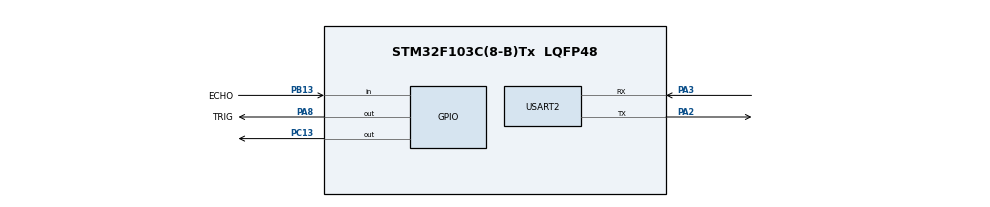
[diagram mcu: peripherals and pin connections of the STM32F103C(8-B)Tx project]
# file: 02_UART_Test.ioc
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FREERTOS.Tasks01=SensorTask,0,128,StartSensorTask,Default,NULL,Dynamic,NULL,NULL
FREERTOS.configTOTAL_HEAP_SIZE=4096
FREERTOS.configUSE_NEWLIB_REENTRANT=0
Mcu.Family=STM32F1
Mcu.Name=STM32F103C(8-B)Tx
Mcu.Package=LQFP48
NVIC.PriorityGroup=NVIC_PRIORITYGROUP_4
NVIC.TIM2_IRQn=true\:0\:0\:true\:false\:true\:false\:false\:true\:true
NVIC.TimeBase=TIM2_IRQn
NVIC.TimeBaseIP=TIM2
PA13.Mode=Serial_Wire
PA13.Signal=SYS_JTMS-SWDIO
PA14.Mode=Serial_Wire
PA14.Signal=SYS_JTCK-SWCLK
PA2.Mode=Asynchronous
PA2.Signal=USART2_TX
PA3.Mode=Asynchronous
PA3.Signal=USART2_RX
PA8.GPIO_Label=TRIG
PA8.Signal=GPIO_Output
PB13.GPIO_Label=ECHO
PB13.Signal=GPIO_Input
PC13-TAMPER-RTC.Signal=GPIO_Output
ProjectManager.HeapSize=0x200
ProjectManager.StackSize=0x400
ProjectManager.TargetToolchain=STM32CubeIDE
RCC.APB1Freq_Value=8000000
RCC.APB2Freq_Value=8000000
TIM1.Prescaler=7
USART2.VirtualMode=VM_ASYNC
VP_FREERTOS_VS_CMSIS_V1.Mode=CMSIS_V1
VP_SYS_VS_tim2.Mode=TIM2
VP_TIM1_VS_ClockSourceINT.Mode=Internal
board=custom

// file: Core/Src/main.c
/* USER CODE BEGIN Header */
/**
  ******************************************************************************
  * @file           : main.c
  * @brief          : Main program body (ROBUST VERSION)
  ******************************************************************************
  */
/* USER CODE END Header */
#include "main.h"
#include "cmsis_os.h"

/* USER CODE BEGIN Includes */
#include "stdio.h"
#include "string.h"
#include "FreeRTOS.h"
#include "task.h"

/* Extern declarations for FreeRTOS port functions */
extern void xPortSysTickHandler(void);
extern void xPortPendSVHandler(void);
extern void vPortSVCHandler(void);
/* USER CODE END Includes */

TIM_HandleTypeDef htim1;

UART_HandleTypeDef huart2;

osThreadId SensorTaskHandle;
/* USER CODE BEGIN PV */

// Operation Mode: 'F' = FreeRTOS, 'B' = Bare Metal
volatile char currentMode = 'F';

// UART Receive
volatile uint8_t rxByte = 0;
volatile uint8_t rxComplete = 0;

// Timestamp (ms)
volatile uint32_t systemTimestamp = 0;

/* USER CODE END PV */

void SystemClock_Config(void);
static void MX_GPIO_Init(void);
static void MX_USART2_UART_Init(void);
static void MX_TIM1_Init(void);
void StartSensorTask(void const * argument);

/* USER CODE BEGIN PFP */
void delay_us(uint16_t us);
uint32_t HCSR04_Read(void);
void vProducerTask(void *pvParameters);   // Priority 3 - sensor read + validation
void vConsumerTask(void *pvParameters);   // Priority 1 - data display
void vAlertTask(void *pvParameters);      // Priority 3 - critical alert handler
void RunBareMetalMode(void);
void ProcessUARTCommand(uint8_t cmd);
void SendSensorData(uint32_t distance, uint32_t latency);

// Double buffer for Producer-Consumer (lock-free)
typedef struct {
    uint32_t distance;
    uint32_t timestamp;
    uint8_t ready;
} SensorBuffer;

volatile SensorBuffer sharedBuffer = {0, 0, 0};

// Critical threshold detection (immediate trigger, no spike protection)
volatile uint32_t criticalThreshold = 10;   // Default 10cm, user configurable
volatile uint8_t alertActive = 0;           // Alert state
volatile uint32_t alertStartTime = 0;       // When alert started
volatile uint32_t alertSampleCount = 0;     // Total samples during alert
volatile uint8_t alertAcknowledged = 0;     // User acknowledged

// Semaphore for Alert Task
SemaphoreHandle_t xAlertSemaphore = NULL;
/* USER CODE END PFP */

/* USER CODE BEGIN 0 */

// Microsecond delay (using TIM1)
void delay_us(uint16_t us)
{
    __HAL_TIM_SET_COUNTER(&htim1, 0);
    while (__HAL_TIM_GET_COUNTER(&htim1) < us);
}

// Ultrasonic Sensor Read - Simple and reliable
uint32_t HCSR04_Read(void)
{
    uint32_t time = 0;
    uint32_t timeout = 1000000;

    // Trigger pulse
    HAL_GPIO_WritePin(GPIOA, GPIO_PIN_8, GPIO_PIN_RESET);
    delay_us(2);
    HAL_GPIO_WritePin(GPIOA, GPIO_PIN_8, GPIO_PIN_SET);
    delay_us(10);
    HAL_GPIO_WritePin(GPIOA, GPIO_PIN_8, GPIO_PIN_RESET);

    // Wait for Echo HIGH
    while (HAL_GPIO_ReadPin(GPIOB, GPIO_PIN_13) == GPIO_PIN_RESET) {
        if (timeout-- == 0) return 0;
    }

    // Start measurement
    __HAL_TIM_SET_COUNTER(&htim1, 0);

    // Wait for Echo LOW
    timeout = 1000000;
    while (HAL_GPIO_ReadPin(GPIOB, GPIO_PIN_13) == GPIO_PIN_SET) {
        if (timeout-- == 0) return 0;
    }

    time = __HAL_TIM_GET_COUNTER(&htim1);
    return time / 58; // Convert to cm
}

// Format and send sensor data
void SendSensorData(uint32_t distance, uint32_t latency)
{
    char buffer[80];
    // Format: MODE:X,TIME:XXXXXX,DIST:XXX,LAT:XXX\n
    sprintf(buffer, "MODE:%c,TIME:%lu,DIST:%lu,LAT:%lu\r\n",
            currentMode, systemTimestamp, distance, latency);
    HAL_UART_Transmit(&huart2, (uint8_t*)buffer, strlen(buffer), 100);
}

// Read mode from Backup Register
char ReadModeFromBackup(void) {
    // Enable clocks (required for reading)
    __HAL_RCC_PWR_CLK_ENABLE();
    __HAL_RCC_BKP_CLK_ENABLE();
    HAL_PWR_EnableBkUpAccess();

    // Read register directly
    uint16_t val = BKP->DR1;
    if ((val & 0xFF) == 'B') return 'B';
    return 'F'; // Default
}

// Write mode to Backup Register
void WriteModeToBackup(char mode) {
    // Enable clocks and disable write protection
    __HAL_RCC_PWR_CLK_ENABLE();
    __HAL_RCC_BKP_CLK_ENABLE();
    HAL_PWR_EnableBkUpAccess();

    // Write register directly
    BKP->DR1 = (uint16_t)mode;

    // Ensure write completion
    __DSB(); // Data Synchronization Barrier
}

// Process UART Command
void ProcessUARTCommand(uint8_t cmd)
{
    char response[50];

    switch(cmd) {
        case 'F':
        case 'f':
            WriteModeToBackup('F');
            sprintf(response, "ACK:MODE_FREERTOS\r\n");
            HAL_UART_Transmit(&huart2, (uint8_t*)response, strlen(response), 100);
            HAL_Delay(50); // Wait for UART/BKP completion
            NVIC_SystemReset();
            break;

        case 'B':
        case 'b':
            WriteModeToBackup('B');
            sprintf(response, "ACK:MODE_BAREMETAL\r\n");
            HAL_UART_Transmit(&huart2, (uint8_t*)response, strlen(response), 100);
            HAL_Delay(50); // Wait for UART/BKP completion
            NVIC_SystemReset();
            break;

        case 'S':
        case 's':
            sprintf(response, "STATUS:MODE_%c,UPTIME:%lu\r\n", currentMode, systemTimestamp);
            HAL_UART_Transmit(&huart2, (uint8_t*)response, strlen(response), 100);
            break;

        case 'A':
        case 'a':
            // Acknowledge alert from UI
            alertAcknowledged = 1;
            sprintf(response, "ACK:ALERT_ACK\r\n");
            HAL_UART_Transmit(&huart2, (uint8_t*)response, strlen(response), 100);
            break;

        // Threshold commands: 5, 10, 15, 20, 25, 30 cm
        case 'T':
            criticalThreshold = 5;
            sprintf(response, "ACK:THRESHOLD_5\r\n");
            HAL_UART_Transmit(&huart2, (uint8_t*)response, strlen(response), 100);
            break;
        case 'U':
            criticalThreshold = 10;
            sprintf(response, "ACK:THRESHOLD_10\r\n");
            HAL_UART_Transmit(&huart2, (uint8_t*)response, strlen(response), 100);
            break;
        case 'V':
            criticalThreshold = 15;
            sprintf(response, "ACK:THRESHOLD_15\r\n");
            HAL_UART_Transmit(&huart2, (uint8_t*)response, strlen(response), 100);
            break;
        case 'W':
            criticalThreshold = 20;
            sprintf(response, "ACK:THRESHOLD_20\r\n");
            HAL_UART_Transmit(&huart2, (uint8_t*)response, strlen(response), 100);
            break;
        case 'X':
            criticalThreshold = 25;
            sprintf(response, "ACK:THRESHOLD_25\r\n");
            HAL_UART_Transmit(&huart2, (uint8_t*)response, strlen(response), 100);
            break;
        case 'Y':
            criticalThreshold = 30;
            sprintf(response, "ACK:THRESHOLD_30\r\n");
            HAL_UART_Transmit(&huart2, (uint8_t*)response, strlen(response), 100);
            break;

        default:
            break;
    }
}
/* ... Sensor fonksiyonları ... satırı hatası düzeltildi */

// ========== PRODUCER TASK (PRIORITY 3 - HIGHEST) ==========
// Reads sensor, validates critical threshold, never blocks
// Uses double buffer - no mutex, no priority inversion
void vProducerTask(void *pvParameters)
{
    for(;;)
    {
        uint32_t startTime = HAL_GetTick();

        // Read sensor (~3ms)
        uint32_t distance = HCSR04_Read();

        // Write to shared buffer (lock-free)
        sharedBuffer.distance = distance;
        sharedBuffer.timestamp = startTime;
        sharedBuffer.ready = 1;

        // === CRITICAL THRESHOLD VALIDATION ===
        // Triggers immediately when threshold crossed - no spike protection
        if (distance < criticalThreshold && distance > 0) {
            if (!alertActive) {
                alertActive = 1;
                alertStartTime = HAL_GetTick();
                alertSampleCount = 1;
                alertAcknowledged = 0;

                // Wake Alert Task immediately
                if (xAlertSemaphore != NULL) {
                    xSemaphoreGive(xAlertSemaphore);
                }
            } else {
                alertSampleCount++;
            }
        }

        // LED toggle
        HAL_GPIO_TogglePin(GPIOC, GPIO_PIN_13);

        vTaskDelay(pdMS_TO_TICKS(100));
    }
}

// ========== CONSUMER TASK (LOW PRIORITY) ==========
// Reads from buffer, calculates latency, sends to UART
// Same priority as dummy tasks, so gets delayed when busy-wait is active!
void vConsumerTask(void *pvParameters)
{
    for(;;)
    {
        // Check if data is ready
        if(sharedBuffer.ready) {
            // Read data
            uint32_t distance = sharedBuffer.distance;
            uint32_t produceTime = sharedBuffer.timestamp;
            sharedBuffer.ready = 0;

            // NOW - Producer Write Time = REAL LATENCY
            // Latency = time from producer write to consumer read
            uint32_t consumeTime = HAL_GetTick();
            uint32_t latency = consumeTime - produceTime;

            systemTimestamp = consumeTime;

            SendSensorData(distance, latency);

            // Check UART commands
            if(rxComplete) {
                ProcessUARTCommand(rxByte);
                rxComplete = 0;
                HAL_UART_Receive_IT(&huart2, (uint8_t*)&rxByte, 1);
            }
        }

        vTaskDelay(pdMS_TO_TICKS(5));
    }
}

// ========== ALERT TASK (PRIORITY 3 - HIGHEST) ==========
// Sleeps until woken by Producer when critical threshold exceeded
// Sends alert to UI immediately, never blocked by Consumer
void vAlertTask(void *pvParameters)
{
    char alertMsg[128];

    for(;;)
    {
        // Wait for Producer to wake us (blocking wait - saves CPU)
        if (xSemaphoreTake(xAlertSemaphore, portMAX_DELAY) == pdTRUE) {

            // Send alert message to UI
            while (alertActive && !alertAcknowledged) {
                uint32_t duration = HAL_GetTick() - alertStartTime;

                sprintf(alertMsg, "ALERT:SAMPLES:%lu,DURATION:%lu,THRESHOLD:%lu\r\n",
                        alertSampleCount, duration, criticalThreshold);
                HAL_UART_Transmit(&huart2, (uint8_t*)alertMsg, strlen(alertMsg), 100);

                // Update every 200ms while alert is active
                vTaskDelay(pdMS_TO_TICKS(200));
            }

            // Alert acknowledged by user, send confirmation
            if (alertAcknowledged) {
                sprintf(alertMsg, "ALERT:CLEARED\r\n");
                HAL_UART_Transmit(&huart2, (uint8_t*)alertMsg, strlen(alertMsg), 100);

                // Reset alert state
                alertActive = 0;
                alertSampleCount = 0;
            }
        }
    }
}

// Bare Metal Mode - Runs without FreeRTOS
void RunBareMetalMode(void)
{
    uint32_t distance;
    uint32_t startTime, endTime, latency;

    // Startup message
    char msg[] = "BARE_METAL_MODE_STARTED\r\n";
    HAL_UART_Transmit(&huart2, (uint8_t*)msg, strlen(msg), 100);

    // Start UART RX interrupt
    HAL_UART_Receive_IT(&huart2, (uint8_t*)&rxByte, 1);

    while(1)
    {
        // Start time
        startTime = HAL_GetTick();

        // Read sensor
        distance = HCSR04_Read();

        // End time and latency
        endTime = HAL_GetTick();
        latency = endTime - startTime;

        // Update timestamp
        systemTimestamp = HAL_GetTick();

        // Send data
        SendSensorData(distance, latency);

        // LED toggle
        HAL_GPIO_TogglePin(GPIOC, GPIO_PIN_13);

        // Check UART commands
        if(rxComplete) {
            ProcessUARTCommand(rxByte);
            rxComplete = 0;
            HAL_UART_Receive_IT(&huart2, (uint8_t*)&rxByte, 1);
        }

        // Wait 100ms
        HAL_Delay(100);
    }
}

// UART RX Complete Callback
void HAL_UART_RxCpltCallback(UART_HandleTypeDef *huart)
{
    if(huart->Instance == USART2) {
        rxComplete = 1;
    }
}

/* USER CODE END 0 */

int main(void)
{

  /* MCU Configuration--------------------------------------------------------*/

  /* Reset of all peripherals, Initializes the Flash interface and the Systick. */
  HAL_Init();

  /* Configure the system clock */
  SystemClock_Config();

  /* Initialize all configured peripherals */
  MX_GPIO_Init();
  MX_USART2_UART_Init();
  MX_TIM1_Init();
  /* USER CODE BEGIN 2 */
  HAL_TIM_Base_Start(&htim1);

  // Enable Power Clock and Backup Access (must be done early)
  __HAL_RCC_PWR_CLK_ENABLE();
  __HAL_RCC_BKP_CLK_ENABLE();
  HAL_PWR_EnableBkUpAccess();

  // DEBUG: Read raw BKP value
  uint16_t bkpRaw = BKP->DR1;

  // Read mode from Backup Register
  currentMode = ReadModeFromBackup();

  // DEBUG: Display BKP value
  char debugMsg[80];
  sprintf(debugMsg, "DEBUG:BKP_RAW=0x%04X,MODE=%c\r\n", bkpRaw, currentMode);
  HAL_UART_Transmit(&huart2, (uint8_t*)debugMsg, strlen(debugMsg), 100);

  // Startup message
  char startMsg[60];
  sprintf(startMsg, "STM32_READY:MODE_%c\r\n", currentMode);
  HAL_UART_Transmit(&huart2, (uint8_t*)startMsg, strlen(startMsg), 100);

  // Start UART RX interrupt
  HAL_UART_Receive_IT(&huart2, (uint8_t*)&rxByte, 1);

  // Run based on selection
  if(currentMode == 'B') {
    // Bare Metal Mode
    RunBareMetalMode();  // Does not return
  }
  else {
    // FreeRTOS Mode (Default)
    // Default to 'F' if invalid
    currentMode = 'F';

    // PRODUCER Task - HIGH PRIORITY (3)
    // Reads sensor, writes to buffer with timestamp
    xTaskCreate(
      vProducerTask,
      "Producer",
      256,
      NULL,
      3,                // HIGH PRIORITY
      NULL
    );

    // CONSUMER Task - Priority 1 (Low)
    xTaskCreate(
      vConsumerTask,
      "Consumer",
      256,
      NULL,
      1,
      NULL
    );

    // Create Alert Semaphore
    xAlertSemaphore = xSemaphoreCreateBinary();

    // ALERT Task - Priority 3 (High, same as Producer)
    // Sleeps until critical threshold exceeded
    xTaskCreate(
      vAlertTask,
      "Alert",
      256,
      NULL,
      3,
      NULL
    );

    // Start FreeRTOS Scheduler
    vTaskStartScheduler();
  }

  // Should never reach here
  while(1) { }
  /* USER CODE END 2 */

  /* Create the thread(s) */
  /* definition and creation of SensorTask */
  osThreadDef(SensorTask, StartSensorTask, osPriorityNormal, 0, 128);
  SensorTaskHandle = osThreadCreate(osThread(SensorTask), NULL);

  /* Start scheduler */
  osKernelStart();

  /* We should never get here as control is now taken by the scheduler */

  /* Infinite loop */
  while (1)
  {

  }
}

void SystemClock_Config(void)
{
  RCC_OscInitTypeDef RCC_OscInitStruct = {0};
  RCC_ClkInitTypeDef RCC_ClkInitStruct = {0};

  /** Initializes the RCC Oscillators according to the specified parameters
  * in the RCC_OscInitTypeDef structure.
  */
  RCC_OscInitStruct.OscillatorType = RCC_OSCILLATORTYPE_HSI;
  RCC_OscInitStruct.HSIState = RCC_HSI_ON;
  RCC_OscInitStruct.HSICalibrationValue = RCC_HSICALIBRATION_DEFAULT;
  RCC_OscInitStruct.PLL.PLLState = RCC_PLL_NONE;
  if (HAL_RCC_OscConfig(&RCC_OscInitStruct) != HAL_OK)
  {
    Error_Handler();
  }

  /** Initializes the CPU, AHB and APB buses clocks
  */
  RCC_ClkInitStruct.ClockType = RCC_CLOCKTYPE_HCLK|RCC_CLOCKTYPE_SYSCLK
                              |RCC_CLOCKTYPE_PCLK1|RCC_CLOCKTYPE_PCLK2;
  RCC_ClkInitStruct.SYSCLKSource = RCC_SYSCLKSOURCE_HSI;
  RCC_ClkInitStruct.AHBCLKDivider = RCC_SYSCLK_DIV1;
  RCC_ClkInitStruct.APB1CLKDivider = RCC_HCLK_DIV1;
  RCC_ClkInitStruct.APB2CLKDivider = RCC_HCLK_DIV1;

  if (HAL_RCC_ClockConfig(&RCC_ClkInitStruct, FLASH_LATENCY_0) != HAL_OK)
  {
    Error_Handler();
  }
}

static void MX_TIM1_Init(void)
{

  TIM_ClockConfigTypeDef sClockSourceConfig = {0};
  TIM_MasterConfigTypeDef sMasterConfig = {0};

  htim1.Instance = TIM1;
  htim1.Init.Prescaler = 7;
  htim1.Init.CounterMode = TIM_COUNTERMODE_UP;
  htim1.Init.Period = 65535;
  htim1.Init.ClockDivision = TIM_CLOCKDIVISION_DIV1;
  htim1.Init.RepetitionCounter = 0;
  htim1.Init.AutoReloadPreload = TIM_AUTORELOAD_PRELOAD_DISABLE;
  if (HAL_TIM_Base_Init(&htim1) != HAL_OK)
  {
    Error_Handler();
  }
  sClockSourceConfig.ClockSource = TIM_CLOCKSOURCE_INTERNAL;
  if (HAL_TIM_ConfigClockSource(&htim1, &sClockSourceConfig) != HAL_OK)
  {
    Error_Handler();
  }
  sMasterConfig.MasterOutputTrigger = TIM_TRGO_RESET;
  sMasterConfig.MasterSlaveMode = TIM_MASTERSLAVEMODE_DISABLE;
  if (HAL_TIMEx_MasterConfigSynchronization(&htim1, &sMasterConfig) != HAL_OK)
  {
    Error_Handler();
  }

}

static void MX_USART2_UART_Init(void)
{

  huart2.Instance = USART2;
  huart2.Init.BaudRate = 115200;
  huart2.Init.WordLength = UART_WORDLENGTH_8B;
  huart2.Init.StopBits = UART_STOPBITS_1;
  huart2.Init.Parity = UART_PARITY_NONE;
  huart2.Init.Mode = UART_MODE_TX_RX;
  huart2.Init.HwFlowCtl = UART_HWCONTROL_NONE;
  huart2.Init.OverSampling = UART_OVERSAMPLING_16;
  if (HAL_UART_Init(&huart2) != HAL_OK)
  {
    Error_Handler();
  }

}

static void MX_GPIO_Init(void)
{
  GPIO_InitTypeDef GPIO_InitStruct = {0};

  /* GPIO Ports Clock Enable */
  __HAL_RCC_GPIOC_CLK_ENABLE();
  __HAL_RCC_GPIOA_CLK_ENABLE();
  __HAL_RCC_GPIOB_CLK_ENABLE();

  /*Configure GPIO pin Output Level */
  HAL_GPIO_WritePin(GPIOC, GPIO_PIN_13, GPIO_PIN_RESET);

  /*Configure GPIO pin Output Level */
  HAL_GPIO_WritePin(TRIG_GPIO_Port, TRIG_Pin, GPIO_PIN_RESET);

  /*Configure GPIO pin : PC13 */
  GPIO_InitStruct.Pin = GPIO_PIN_13;
  GPIO_InitStruct.Mode = GPIO_MODE_OUTPUT_PP;
  GPIO_InitStruct.Pull = GPIO_NOPULL;
  GPIO_InitStruct.Speed = GPIO_SPEED_FREQ_LOW;
  HAL_GPIO_Init(GPIOC, &GPIO_InitStruct);

  /*Configure GPIO pin : ECHO_Pin */
  GPIO_InitStruct.Pin = ECHO_Pin;
  GPIO_InitStruct.Mode = GPIO_MODE_INPUT;
  GPIO_InitStruct.Pull = GPIO_NOPULL;
  HAL_GPIO_Init(ECHO_GPIO_Port, &GPIO_InitStruct);

  /*Configure GPIO pin : TRIG_Pin */
  GPIO_InitStruct.Pin = TRIG_Pin;
  GPIO_InitStruct.Mode = GPIO_MODE_OUTPUT_PP;
  GPIO_InitStruct.Pull = GPIO_NOPULL;
  GPIO_InitStruct.Speed = GPIO_SPEED_FREQ_LOW;
  HAL_GPIO_Init(TRIG_GPIO_Port, &GPIO_InitStruct);

}

void StartSensorTask(void const * argument)
{
  for(;;)
  {
    osDelay(1);
  }
}

void HAL_TIM_PeriodElapsedCallback(TIM_HandleTypeDef *htim)
{
  if (htim->Instance == TIM2)
  {
    HAL_IncTick();
  }
  /* USER CODE BEGIN Callback 1 */
  // FreeRTOS tick handler - generate tick with TIM2
  if (htim->Instance == TIM2)
  {
    if (xTaskGetSchedulerState() != taskSCHEDULER_NOT_STARTED)
    {
      xPortSysTickHandler();
    }
  }
  /* USER CODE END Callback 1 */
}

void Error_Handler(void)
{
  /* USER CODE BEGIN Error_Handler_Debug */
  while (1)
  {
    // Fast blink - error indicator
    HAL_GPIO_TogglePin(GPIOC, GPIO_PIN_13);
    for(volatile uint32_t i = 0; i < 50000; i++);
  }
  /* USER CODE END Error_Handler_Debug */
}

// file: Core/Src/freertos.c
/* USER CODE BEGIN Header */
/**
  ******************************************************************************
  * File Name          : freertos.c
  * Description        : Code for freertos applications
  ******************************************************************************
  * @attention
  *
  * Copyright (c) 2026 STMicroelectronics.
  * All rights reserved.
  *
  * This software is licensed under terms that can be found in the LICENSE file
  * in the root directory of this software component.
  * If no LICENSE file comes with this software, it is provided AS-IS.
  *
  ******************************************************************************
  */
/* USER CODE END Header */

#include "FreeRTOS.h"
#include "task.h"
#include "main.h"

/* USER CODE BEGIN Includes */
#include <stdint.h>
/* USER CODE END Includes */

/* GetIdleTaskMemory prototype (linked to static allocation support) */
void vApplicationGetIdleTaskMemory( StaticTask_t **ppxIdleTaskTCBBuffer, StackType_t **ppxIdleTaskStackBuffer, uint32_t *pulIdleTaskStackSize );

/* USER CODE BEGIN GET_IDLE_TASK_MEMORY */
static StaticTask_t xIdleTaskTCBBuffer;
static StackType_t xIdleStack[configMINIMAL_STACK_SIZE];

void vApplicationGetIdleTaskMemory( StaticTask_t **ppxIdleTaskTCBBuffer, StackType_t **ppxIdleTaskStackBuffer, uint32_t *pulIdleTaskStackSize )
{
  *ppxIdleTaskTCBBuffer = &xIdleTaskTCBBuffer;
  *ppxIdleTaskStackBuffer = &xIdleStack[0];
  *pulIdleTaskStackSize = configMINIMAL_STACK_SIZE;
  /* place for user code */
}
/* USER CODE END GET_IDLE_TASK_MEMORY */
